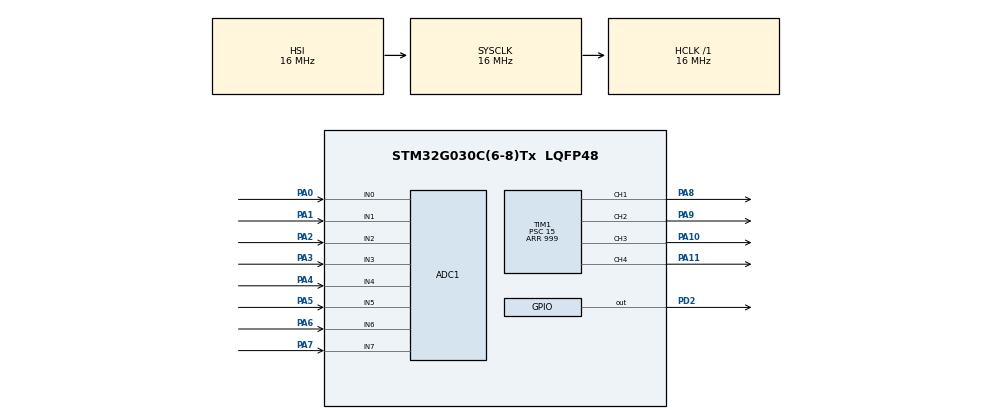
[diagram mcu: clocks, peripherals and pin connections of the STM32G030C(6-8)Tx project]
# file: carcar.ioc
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ADC1.Channel-0\#ChannelRegularConversion=ADC_CHANNEL_0
ADC1.Channel-1\#ChannelRegularConversion=ADC_CHANNEL_1
ADC1.Channel-2\#ChannelRegularConversion=ADC_CHANNEL_2
ADC1.Channel-3\#ChannelRegularConversion=ADC_CHANNEL_3
ADC1.Channel-4\#ChannelRegularConversion=ADC_CHANNEL_4
ADC1.Channel-5\#ChannelRegularConversion=ADC_CHANNEL_5
ADC1.Channel-6\#ChannelRegularConversion=ADC_CHANNEL_6
ADC1.Channel-7\#ChannelRegularConversion=ADC_CHANNEL_7
ADC1.ContinuousConvMode=ENABLE
ADC1.DMAContinuousRequests=ENABLE
ADC1.DiscontinuousConvMode=DISABLE
ADC1.EOCSelection=ADC_EOC_SEQ_CONV
ADC1.NbrOfConversion=8
ADC1.NbrOfConversionFlag=1
ADC1.Rank-0\#ChannelRegularConversion=1
ADC1.Rank-1\#ChannelRegularConversion=2
ADC1.Rank-2\#ChannelRegularConversion=3
ADC1.Rank-3\#ChannelRegularConversion=4
ADC1.Rank-4\#ChannelRegularConversion=5
ADC1.Rank-5\#ChannelRegularConversion=6
ADC1.Rank-6\#ChannelRegularConversion=7
ADC1.Rank-7\#ChannelRegularConversion=8
ADC1.SamplingTime-0\#ChannelRegularConversion=ADC_SAMPLINGTIME_COMMON_1
ADC1.SamplingTime-1\#ChannelRegularConversion=ADC_SAMPLINGTIME_COMMON_1
ADC1.SamplingTime-2\#ChannelRegularConversion=ADC_SAMPLINGTIME_COMMON_1
ADC1.SamplingTime-3\#ChannelRegularConversion=ADC_SAMPLINGTIME_COMMON_1
ADC1.SamplingTime-4\#ChannelRegularConversion=ADC_SAMPLINGTIME_COMMON_1
ADC1.SamplingTime-5\#ChannelRegularConversion=ADC_SAMPLINGTIME_COMMON_1
ADC1.SamplingTime-6\#ChannelRegularConversion=ADC_SAMPLINGTIME_COMMON_1
ADC1.SamplingTime-7\#ChannelRegularConversion=ADC_SAMPLINGTIME_COMMON_1
ADC1.SamplingTimeCommon1=ADC_SAMPLETIME_79CYCLES_5
ADC1.SelectedChannel=ADC_CHANNEL_0|ADC_CHANNEL_1|ADC_CHANNEL_2|ADC_CHANNEL_3|ADC_CHANNEL_4|ADC_CHANNEL_5|ADC_CHANNEL_6|ADC_CHANNEL_7
ADC1.master=1
Dma.ADC1.0.Direction=DMA_PERIPH_TO_MEMORY
Dma.ADC1.0.EventEnable=DISABLE
Dma.ADC1.0.Instance=DMA1_Channel1
Dma.ADC1.0.MemDataAlignment=DMA_MDATAALIGN_HALFWORD
Dma.ADC1.0.MemInc=DMA_MINC_ENABLE
Dma.ADC1.0.Mode=DMA_CIRCULAR
Dma.ADC1.0.PeriphDataAlignment=DMA_PDATAALIGN_HALFWORD
Dma.ADC1.0.PeriphInc=DMA_PINC_DISABLE
Dma.ADC1.0.Polarity=HAL_DMAMUX_REQ_GEN_RISING
Dma.ADC1.0.Priority=DMA_PRIORITY_HIGH
Dma.ADC1.0.RequestNumber=1
Dma.ADC1.0.SignalID=NONE
Dma.ADC1.0.SyncEnable=DISABLE
Dma.ADC1.0.SyncPolarity=HAL_DMAMUX_SYNC_NO_EVENT
Dma.ADC1.0.SyncRequestNumber=1
Dma.ADC1.0.SyncSignalID=NONE
Dma.Request0=ADC1
Mcu.Family=STM32G0
Mcu.Name=STM32G030C(6-8)Tx
Mcu.Package=LQFP48
NVIC.ADC1_IRQn=true\:0\:0\:false\:false\:true\:true\:true\:true
NVIC.DMA1_Channel1_IRQn=true\:0\:0\:false\:false\:true\:true\:true\:true
PA0.Signal=SharedAnalog_PA0
PA1.Signal=SharedAnalog_PA1
PA10.Signal=S_TIM1_CH3
PA11\ [PA9].Signal=S_TIM1_CH4
PA13.Mode=Serial_Wire
PA13.Signal=SYS_SWDIO
PA14-BOOT0.Mode=Serial_Wire
PA14-BOOT0.Signal=SYS_SWCLK
PA2.Signal=SharedAnalog_PA2
PA3.Signal=SharedAnalog_PA3
PA4.Signal=SharedAnalog_PA4
PA5.Signal=SharedAnalog_PA5
PA6.Signal=SharedAnalog_PA6
PA7.Signal=SharedAnalog_PA7
PA8.Signal=S_TIM1_CH1
PA9.Signal=S_TIM1_CH2
PD2.PinState=GPIO_PIN_SET
PD2.Signal=GPIO_Output
ProjectManager.HeapSize=0x200
ProjectManager.StackSize=0x400
ProjectManager.TargetToolchain=MDK-ARM V5.32
RCC.AHBFreq_Value=16000000
RCC.CortexFreq_Value=16000000
RCC.EXTERNAL_CLOCK_VALUE=12288000
RCC.HCLKFreq_Value=16000000
RCC.HSE_VALUE=8000000
RCC.HSI_VALUE=16000000
RCC.LSE_VALUE=32768
RCC.SYSCLKFreq_VALUE=16000000
RCC.VCOOutputFreq_Value=128000000
SH.S_TIM1_CH1.0=TIM1_CH1,PWM Generation1 CH1
SH.S_TIM1_CH2.0=TIM1_CH2,PWM Generation2 CH2
SH.S_TIM1_CH3.0=TIM1_CH3,PWM Generation3 CH3
SH.S_TIM1_CH4.0=TIM1_CH4,PWM Generation4 CH4
SH.SharedAnalog_PA0.0=GPIO_Analog
SH.SharedAnalog_PA0.1=ADC1_IN0,IN0
SH.SharedAnalog_PA1.0=GPIO_Analog
SH.SharedAnalog_PA1.1=ADC1_IN1,IN1
SH.SharedAnalog_PA2.0=GPIO_Analog
SH.SharedAnalog_PA2.1=ADC1_IN2,IN2
SH.SharedAnalog_PA3.0=GPIO_Analog
SH.SharedAnalog_PA3.1=ADC1_IN3,IN3
SH.SharedAnalog_PA4.0=GPIO_Analog
SH.SharedAnalog_PA4.1=ADC1_IN4,IN4
SH.SharedAnalog_PA5.0=GPIO_Analog
SH.SharedAnalog_PA5.1=ADC1_IN5,IN5
SH.SharedAnalog_PA6.0=GPIO_Analog
SH.SharedAnalog_PA6.1=ADC1_IN6,IN6
SH.SharedAnalog_PA7.0=GPIO_Analog
SH.SharedAnalog_PA7.1=ADC1_IN7,IN7
TIM1.AutoReloadPreload=TIM_AUTORELOAD_PRELOAD_ENABLE
TIM1.Channel-PWM\ Generation1\ CH1=TIM_CHANNEL_1
TIM1.Channel-PWM\ Generation2\ CH2=TIM_CHANNEL_2
TIM1.Channel-PWM\ Generation3\ CH3=TIM_CHANNEL_3
TIM1.Channel-PWM\ Generation4\ CH4=TIM_CHANNEL_4
TIM1.Period=999
TIM1.Prescaler=15
VP_TIM1_VS_ClockSourceINT.Mode=Internal
board=custom

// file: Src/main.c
/* USER CODE BEGIN Header */
/**
  ******************************************************************************
  * @file           : main.c
  * @brief          : Main program body
  ******************************************************************************
  * @attention
  *
  * Copyright (c) 2025 STMicroelectronics.
  * All rights reserved.
  *
  * This software is licensed under terms that can be found in the LICENSE file
  * in the root directory of this software component.
  * If no LICENSE file comes with this software, it is provided AS-IS.
  *
  ******************************************************************************
  */
/* USER CODE END Header */
#include "main.h"
#include "adc.h"
#include "dma.h"
#include "tim.h"
#include "gpio.h"

/* USER CODE BEGIN Includes */
#define speed_basic 300
#define obstacle_threshold 3600
#define KP 0.14
#define KD 0.1
uint16_t adc[8] = {0};
uint8_t adc_ready = 0;

/* USER CODE END Includes */

/* USER CODE BEGIN PTD */
void HAL_ADC_ConvCpltCallback(ADC_HandleTypeDef *hadc) {
    adc_ready = 1;

}
void pwm_init()
{
HAL_TIM_PWM_Start(&htim1, TIM_CHANNEL_1);
HAL_TIM_PWM_Start(&htim1, TIM_CHANNEL_2);
HAL_TIM_PWM_Start(&htim1, TIM_CHANNEL_3);
HAL_TIM_PWM_Start(&htim1, TIM_CHANNEL_4);
}
void move(int speed)
{
	__HAL_TIM_SET_COMPARE(&htim1, TIM_CHANNEL_1, speed_basic-speed);
	__HAL_TIM_SET_COMPARE(&htim1, TIM_CHANNEL_2, 0);
	__HAL_TIM_SET_COMPARE(&htim1, TIM_CHANNEL_3, speed_basic+speed);
	__HAL_TIM_SET_COMPARE(&htim1, TIM_CHANNEL_4, 0);
}

void back()
{
	__HAL_TIM_SET_COMPARE(&htim1, TIM_CHANNEL_1, 0);
	__HAL_TIM_SET_COMPARE(&htim1, TIM_CHANNEL_2, 600);
	__HAL_TIM_SET_COMPARE(&htim1, TIM_CHANNEL_3, 0);
	__HAL_TIM_SET_COMPARE(&htim1, TIM_CHANNEL_4, 600);
}

void stop()
{
	__HAL_TIM_SET_COMPARE(&htim1, TIM_CHANNEL_1, 0);
	__HAL_TIM_SET_COMPARE(&htim1, TIM_CHANNEL_2, 0);
	__HAL_TIM_SET_COMPARE(&htim1, TIM_CHANNEL_3, 0);
	__HAL_TIM_SET_COMPARE(&htim1, TIM_CHANNEL_4, 0);
}

void bizhang()
{
	__HAL_TIM_SET_COMPARE(&htim1, TIM_CHANNEL_1, 900);
	__HAL_TIM_SET_COMPARE(&htim1, TIM_CHANNEL_2, 0);
	__HAL_TIM_SET_COMPARE(&htim1, TIM_CHANNEL_3, 100);
	__HAL_TIM_SET_COMPARE(&htim1, TIM_CHANNEL_4, 0);
}

/* USER CODE END PTD */

void SystemClock_Config(void);

int main(void)
{

  /* MCU Configuration--------------------------------------------------------*/

  /* Reset of all peripherals, Initializes the Flash interface and the Systick. */
  HAL_Init();

  /* Configure the system clock */
  SystemClock_Config();

  /* Initialize all configured peripherals */
  MX_GPIO_Init();
  MX_DMA_Init();
  MX_ADC1_Init();
  MX_TIM1_Init();
  /* USER CODE BEGIN 2 */
int averange=0;
int averange_last=0;
int speed=0;
pwm_init();
HAL_ADC_Start_DMA(&hadc1, (uint32_t*)adc, 8);
  /* USER CODE END 2 */

  /* Infinite loop */
  while (1)
  {

    /* USER CODE BEGIN 3 */
		//0-1 1-
    if(adc_ready)
		{
			if(adc[0]<obstacle_threshold||adc[1]<obstacle_threshold||adc[2]<obstacle_threshold||adc[3]<obstacle_threshold)
			{

				HAL_GPIO_WritePin(GPIOD, GPIO_PIN_2, GPIO_PIN_RESET);
				bizhang();
				HAL_Delay(500);
				while(1)
				{
					stop();
				}

			}
			else
			{

			 averange=adc[4]+adc[5]-adc[6]-adc[7];
			 speed=KP*averange+KD*(averange-averange_last);
			 averange_last=averange;
			if(speed>300)
			{
				speed=300;
			}
			if(speed<-300)
			{
				speed=-300;
			}
			 move(speed);
		  }
			adc_ready=0;
		}
		else
		{
		}
		HAL_Delay(20);
 }
  /* USER CODE END 3 */
}

void SystemClock_Config(void)
{
  RCC_OscInitTypeDef RCC_OscInitStruct = {0};
  RCC_ClkInitTypeDef RCC_ClkInitStruct = {0};

  /** Configure the main internal regulator output voltage
  */
  HAL_PWREx_ControlVoltageScaling(PWR_REGULATOR_VOLTAGE_SCALE1);

  /** Initializes the RCC Oscillators according to the specified parameters
  * in the RCC_OscInitTypeDef structure.
  */
  RCC_OscInitStruct.OscillatorType = RCC_OSCILLATORTYPE_HSI;
  RCC_OscInitStruct.HSIState = RCC_HSI_ON;
  RCC_OscInitStruct.HSIDiv = RCC_HSI_DIV1;
  RCC_OscInitStruct.HSICalibrationValue = RCC_HSICALIBRATION_DEFAULT;
  RCC_OscInitStruct.PLL.PLLState = RCC_PLL_NONE;
  if (HAL_RCC_OscConfig(&RCC_OscInitStruct) != HAL_OK)
  {
    Error_Handler();
  }

  /** Initializes the CPU, AHB and APB buses clocks
  */
  RCC_ClkInitStruct.ClockType = RCC_CLOCKTYPE_HCLK|RCC_CLOCKTYPE_SYSCLK
                              |RCC_CLOCKTYPE_PCLK1;
  RCC_ClkInitStruct.SYSCLKSource = RCC_SYSCLKSOURCE_HSI;
  RCC_ClkInitStruct.AHBCLKDivider = RCC_SYSCLK_DIV1;
  RCC_ClkInitStruct.APB1CLKDivider = RCC_HCLK_DIV1;

  if (HAL_RCC_ClockConfig(&RCC_ClkInitStruct, FLASH_LATENCY_0) != HAL_OK)
  {
    Error_Handler();
  }
}

void Error_Handler(void)
{
  __disable_irq();
  while (1)
  {
  }
}
